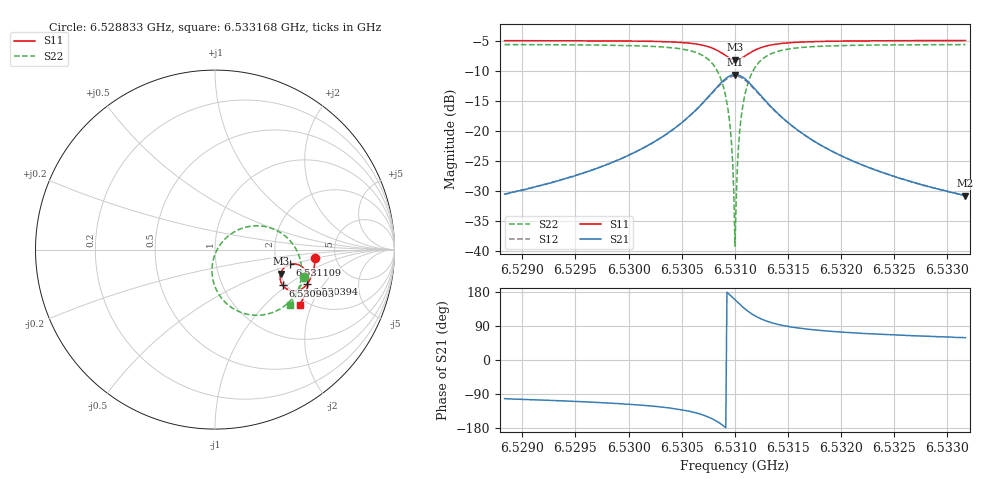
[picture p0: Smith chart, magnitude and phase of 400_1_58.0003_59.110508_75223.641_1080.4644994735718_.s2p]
#  HZ  S  RI  R  50.00
! Rohde & Schwarz Vector Network Analyzer
! Rohde-Schwarz,ZNB20-2Port,1311601062101988,3.16
! Created: UTC 3/21/2024, 1:08:12 AM
! freq[Hz]  re:S11  im:S11  re:S21  im:S21  re:S12  im:S12  re:S22  im:S22
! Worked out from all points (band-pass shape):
!   401 points, 6.528833 GHz to 6.533168 GHz, reference 50 ohm
!   highest |S21| = -10.65 dB at 6.531001 GHz (marker M1); lowest = -30.8 dB at 6.533168 GHz (marker M2)
!   |S21| within 3 dB of the highest: 6.530786 GHz to 6.531219 GHz (433 kHz wide, 0.00663 % of centre)
!   lowest |S11| = -8.2 dB at 6.531001 GHz (marker M3), VSWR 2.28, Z = 101 - j31.9 ohm
!   |S11| at or under -10 dB: nowhere
!   |S22| runs from -39.2 to -5.7 dB; largest |S21 - S12| = 0.011
!   S11 on the Smith chart (normalised r, x): 6.528833 GHz: 3.48, -0.50; 6.530394 GHz: 2.55, -1.40; 6.530903 GHz: 1.91, -0.94; 6.531109 GHz: 2.37, -0.48; 6.533168 GHz: 1.82, -1.65
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6.5288334e9  0.5591 -0.0494  -0.00615 -0.0291  -0.00684 -0.029  0.4978 -0.1523
6.5295595e9  0.5495 -0.1091  -0.0151 -0.0415  -0.0161 -0.0412  0.4689 -0.2186
6.5302856e9  0.5222 -0.1794  -0.0472 -0.0713  -0.049 -0.0701  0.3913 -0.3112
6.530394e9  0.5133 -0.1923  -0.0595 -0.0792  -0.0617 -0.0774  0.3648 -0.3292
6.5307408e9  0.4469 -0.2304  -0.1616 -0.0953  -0.1634 -0.089  0.1725 -0.3586
6.5308384e9  0.4064 -0.2233  -0.2242 -0.0673  -0.2233 -0.0584  0.0662 -0.3024
6.5309034e9  0.3778 -0.1998  -0.2663 -0.0174  -0.2614 -0.00808  0.00191 -0.2116
6.5309467e9  0.3651 -0.1734  -0.2823 0.0332  -0.2743 0.0407  -0.0168 -0.1249
6.5309684e9  0.3628 -0.1579  -0.2833 0.0619  -0.2742 0.0682  -0.0138 -0.0773
6.5309793e9  0.363 -0.1498  -0.2817 0.0765  -0.2721 0.0818  -0.00871 -0.0533
6.5309901e9  0.364 -0.1416  -0.2786 0.0912  -0.2686 0.0957  -0.00138 -0.0298
6.5310009e9  0.3658 -0.1339  -0.2739 0.1054  -0.2639 0.109  0.0085 -0.00699
6.5310118e9  0.3685 -0.1262  -0.2679 0.1191  -0.2579 0.1218  0.0204 0.0146
6.5310226e9  0.372 -0.1188  -0.2606 0.1323  -0.2507 0.134  0.0345 0.035
6.5310334e9  0.3762 -0.112  -0.252 0.1445  -0.2424 0.1454  0.0503 0.0536
6.5310551e9  0.3866 -0.1001  -0.2323 0.1656  -0.2233 0.1651  0.0863 0.0853
6.5311093e9  0.4182 -0.0825  -0.1746 0.1971  -0.1683 0.1943  0.1865 0.1283
6.5311852e9  0.4591 -0.0828  -0.1023 0.1999  -0.0991 0.1971  0.3088 0.1207
6.5312935e9  0.4949 -0.1048  -0.0396 0.1707  -0.0383 0.1691  0.4112 0.0574
6.5317271e9  0.5191 -0.1835  0.0145 0.0826  0.0154 0.0823  0.4832 -0.1288
6.5324532e9  0.4992 -0.2557  0.0169 0.0396  0.0177 0.0395  0.4554 -0.2447
6.5331685e9  0.4713 -0.3083  0.0149 0.0247  0.0153 0.0246  0.4205 -0.3067
